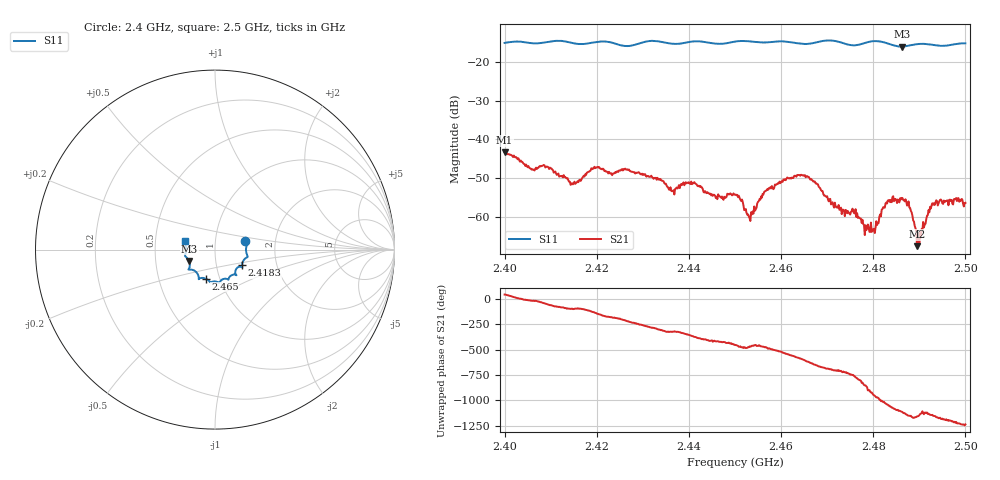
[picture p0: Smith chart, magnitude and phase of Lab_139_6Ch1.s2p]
# Hz S RI R 50
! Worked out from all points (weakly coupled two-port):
!   601 points, 2.4 GHz to 2.5 GHz, reference 50 ohm
!   highest |S21| = -43.36 dB at 2.4 GHz (marker M1); lowest = -67.6 dB at 2.4895 GHz (marker M2)
!   lowest |S11| = -16.1 dB at 2.4862 GHz (marker M3), VSWR 1.37, Z = 37.2 - j4.81 ohm
!   |S11| at or under -10 dB: start of sweep to end of sweep
!   S12 and S22 are empty: the file has one direction only
!   S11 on the Smith chart (normalised r, x): 2.4 GHz: 1.40, +0.14; 2.4183 GHz: 1.33, -0.24; 2.465 GHz: 0.86, -0.28; 2.5 GHz: 0.71, +0.07
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2.4e9  0.1689 0.047  0.00472 0.00488  0 0  0 0
2.4145e9  0.169 -0.0487  -0.000199 -0.00267  0 0  0 0
2.416667e9  0.1548 -0.0682  -0.000297 -0.003  0 0  0 0
2.418333e9  0.1503 -0.0871  -0.00154 -0.0035  0 0  0 0
2.433333e9  0.1178 -0.1409  0.00147 0.00265  0 0  0 0
2.436333e9  0.0971 -0.141  0.00171 0.00128  0 0  0 0
2.441e9  0.0751 -0.1671  0.00267 -0.0004  0 0  0 0
2.445667e9  0.0567 -0.162  0.00107 -0.00153  0 0  0 0
2.45e9  0.0262 -0.1803  -0.000122 -0.00192  0 0  0 0
2.453167e9  0.0182 -0.1829  -0.000274 -0.000915  0 0  0 0
2.456833e9  -0.00795 -0.1776  -0.000982 -0.00196  0 0  0 0
2.465e9  -0.0526 -0.1615  -0.00167 0.003  0 0  0 0
2.466667e9  -0.0714 -0.1576  0.000266 0.00299  0 0  0 0
2.478667e9  -0.1395 -0.111  -0.000617 -0.00036  0 0  0 0
2.480333e9  -0.1476 -0.1113  -0.000358 0.000501  0 0  0 0
2.483333e9  -0.1412 -0.0965  0.00142 0.000761  0 0  0 0
2.486167e9  -0.1437 -0.0632  0.00149 -0.000927  0 0  0 0
2.488e9  -0.1562 -0.0466  0.00037 -0.00125  0 0  0 0
2.4895e9  -0.1642 -0.039  7.94e-05 -0.00041  0 0  0 0
2.49e9  -0.1658 -0.0375  0.000177 -0.000402  0 0  0 0
2.493333e9  -0.1632 -0.0173  0.000358 -0.00137  0 0  0 0
2.5e9  -0.1665 0.0467  -0.0014 -0.000578  0 0  0 0
